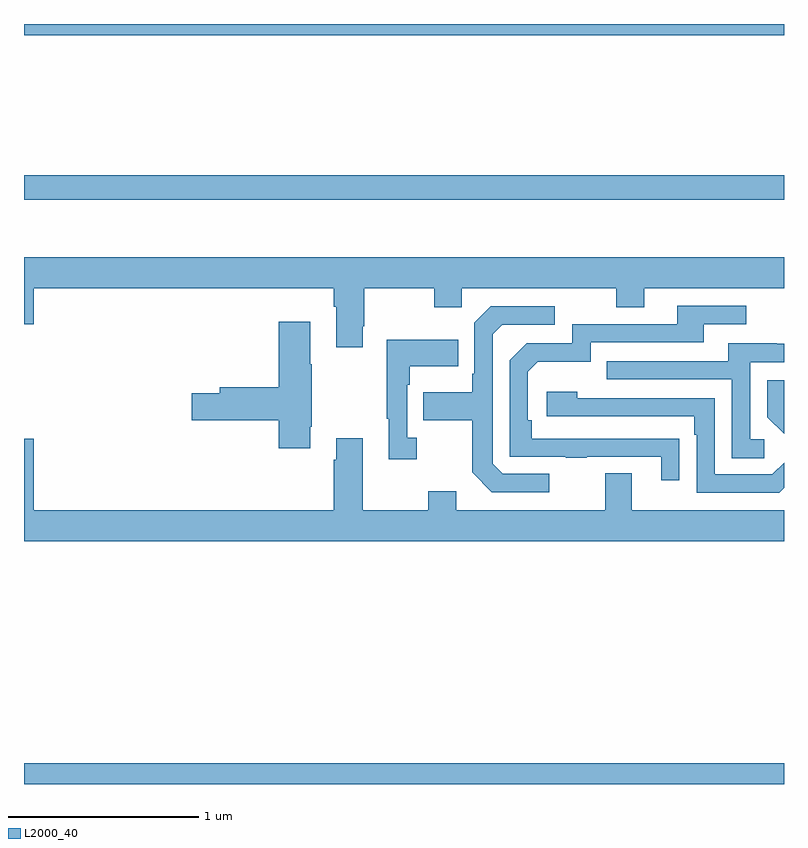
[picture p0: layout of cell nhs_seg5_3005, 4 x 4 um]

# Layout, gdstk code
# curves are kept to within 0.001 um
import gdstk
lib = gdstk.Library(unit=1e-6, precision=1e-09)
def R(c, l, rs):  # rectangles x0, y0, x1, y1
    for r in rs: c.add(gdstk.rectangle(r[:2], r[2:], *l))
def P(c, l, *ps):  # polygons
    for p in ps: c.add(gdstk.Polygon(p, *l))
L2000_40 = (2000, 40)

nhs_seg5_3005 = lib.new_cell('nhs_seg5_3005')
R(nhs_seg5_3005, L2000_40, [(285,872.799,289,872.908), (285,875.874,289,876.002), (285,876.74,289,876.799)])
P(nhs_seg5_3005, L2000_40, [(285,875.22),(285.052,875.22),(285.052,875.408),(286.631,875.408),(286.631,875.312),(286.643,875.312),(286.643,875.097),(286.783,875.097),(286.783,875.209),(286.791,875.209),(286.791,875.408),(287.158,875.408),(287.158,875.309),(287.304,875.309),(287.304,875.408),(288.118,875.408),(288.118,875.309),(288.265,875.309),(288.265,875.408),(289,875.408),(289,875.572),(285,875.572)],
  [(288.449,874.616),(287.672,874.617),(287.672,874.714),(287.652,874.714),(287.652,874.968),(287.705,875.021),(287.982,875.021),(287.982,875.124),(288.577,875.124),(288.577,875.22),(288.802,875.22),(288.802,875.316),(288.437,875.316),(288.437,875.22),(287.886,875.22),(287.886,875.118),(287.646,875.118),(287.556,875.028),(287.556,874.521),(287.851,874.521),(287.851,874.516),(287.963,874.516),(287.963,874.521),(288.353,874.521),(288.353,874.398),(288.449,874.398)],
  [(287.764,874.431),(287.52,874.431),(287.466,874.485),(287.466,875.166),(287.517,875.217),(287.794,875.217),(287.794,875.313),(287.457,875.313),(287.37,875.226),(287.37,874.957),(287.358,874.957),(287.358,874.861),(287.101,874.861),(287.101,874.714),(287.358,874.714),(287.358,874.441),(287.463,874.335),(287.764,874.335)],
  [(286.507,874.678),(286.515,874.678),(286.515,875.009),(286.507,875.009),(286.507,875.233),(286.34,875.233),(286.34,874.886),(286.031,874.886),(286.031,874.856),(285.882,874.856),(285.882,874.714),(286.34,874.714),(286.34,874.566),(286.507,874.566)],
  [(287.068,874.622),(287.016,874.622),(287.016,874.901),(287.029,874.901),(287.029,874.997),(287.285,874.997),(287.285,875.137),(286.908,875.137),(286.908,874.721),(286.919,874.721),(286.919,874.509),(287.068,874.509)],
  [(288.895,874.614),(288.822,874.614),(288.822,875.019),(289,875.019),(289,875.115),(288.961,875.115),(288.961,875.119),(288.707,875.119),(288.707,875.025),(288.067,875.025),(288.067,874.929),(288.726,874.929),(288.726,874.513),(288.895,874.513)],
  [(289,874.924),(288.912,874.924),(288.912,874.73),(289,874.642)],
  [(289,874.357),(289,874.489),(288.939,874.428),(288.636,874.428),(288.636,874.83),(287.912,874.83),(287.912,874.864),(287.751,874.864),(287.751,874.734),(288.527,874.734),(288.527,874.637),(288.54,874.637),(288.54,874.332),(288.975,874.332)],
  [(289,874.24),(288.199,874.24),(288.199,874.435),(288.059,874.435),(288.059,874.24),(287.275,874.24),(287.275,874.339),(287.128,874.339),(287.128,874.24),(286.783,874.24),(286.783,874.618),(286.643,874.618),(286.643,874.505),(286.631,874.505),(286.631,874.24),(285.052,874.24),(285.052,874.615),(285,874.615),(285,874.076),(289,874.076)])

lib.write_gds('nhs_seg5_3005.gds')
